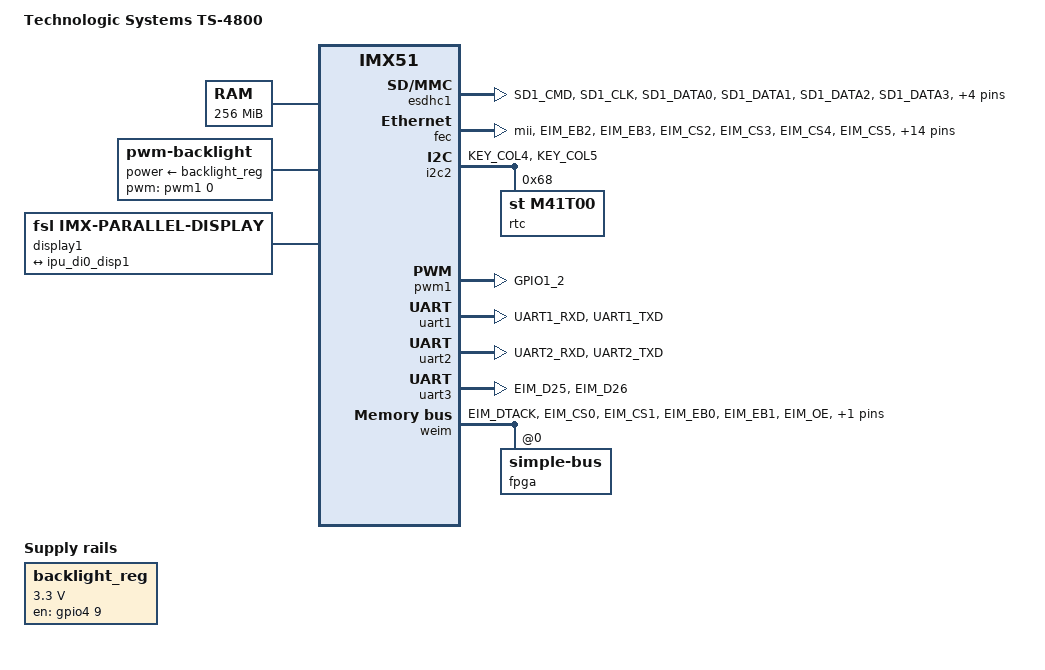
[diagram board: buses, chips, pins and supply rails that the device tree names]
/*
 * Copyright 2015 Savoir-faire Linux
 *
 * This device tree is based on imx51-babbage.dts
 *
 * Licensed under the X11 license or the GPL v2 (or later)
 */

/dts-v1/;
#include "imx51.dtsi"

/ {
	model = "Technologic Systems TS-4800";
	compatible = "technologic,imx51-ts4800", "fsl,imx51";

	chosen {
		stdout-path = &uart1;
	};

	memory@90000000 {
		device_type = "memory";
		reg = <0x90000000 0x10000000>;
	};

	clocks {
		ckih1 {
			clock-frequency = <22579200>;
		};

		ckih2 {
			clock-frequency = <24576000>;
		};
	};

	backlight_reg: regulator-backlight {
		compatible = "regulator-fixed";
		pinctrl-names = "default";
		pinctrl-0 = <&pinctrl_enable_lcd>;
		regulator-name = "enable_lcd_reg";
		regulator-min-microvolt = <3300000>;
		regulator-max-microvolt = <3300000>;
		gpio = <&gpio4 9 GPIO_ACTIVE_HIGH>;
		enable-active-high;
	};

	backlight: backlight {
		compatible = "pwm-backlight";
		pwms = <&pwm1 0 78770>;
		brightness-levels = <0 150 200 255>;
		default-brightness-level = <1>;
		power-supply = <&backlight_reg>;
	};

	display1: disp1 {
		compatible = "fsl,imx-parallel-display";
		interface-pix-fmt = "rgb24";
		pinctrl-names = "default";
		pinctrl-0 = <&pinctrl_lcd>;

		display-timings {
			800x480p60 {
				native-mode;
				clock-frequency = <30066000>;
				hactive = <800>;
				vactive = <480>;
				hfront-porch = <50>;
				hback-porch = <70>;
				hsync-len = <50>;
				vback-porch = <0>;
				vfront-porch = <0>;
				vsync-len = <50>;
			};
		};

		port {
			display0_in: endpoint {
				remote-endpoint = <&ipu_di0_disp1>;
			};
		};
	};
};

&esdhc1 {
	pinctrl-names = "default";
	pinctrl-0 = <&pinctrl_esdhc1>;
	cd-gpios = <&gpio1 0 GPIO_ACTIVE_LOW>;
	wp-gpios = <&gpio1 1 GPIO_ACTIVE_HIGH>;
	status = "okay";
};

&fec {
	pinctrl-names = "default";
	pinctrl-0 = <&pinctrl_fec>;
	phy-mode = "mii";
	phy-reset-gpios = <&gpio2 14 GPIO_ACTIVE_LOW>;
	phy-reset-duration = <1>;
	status = "okay";
};

&i2c2 {
	pinctrl-names = "default";
	pinctrl-0 = <&pinctrl_i2c2>;
	status = "okay";

	rtc: rtc@68 {
		compatible = "st,m41t00";
		reg = <0x68>;
	};
};

&ipu_di0_disp1 {
	remote-endpoint = <&display0_in>;
};

&pwm1 {
	#pwm-cells = <2>;
	pinctrl-names = "default";
	pinctrl-0 = <&pinctrl_pwm_backlight>;
	status = "okay";
};

&uart1 {
	pinctrl-names = "default";
	pinctrl-0 = <&pinctrl_uart1>;
	status = "okay";
};

&uart2 {
	pinctrl-names = "default";
	pinctrl-0 = <&pinctrl_uart2>;
	status = "okay";
};

&uart3 {
	pinctrl-names = "default";
	pinctrl-0 = <&pinctrl_uart3>;
	status = "okay";
};

&weim {
	pinctrl-names = "default";
	pinctrl-0 = <&pinctrl_weim>;
	status = "okay";

	fpga@0 {
		compatible = "simple-bus";
		fsl,weim-cs-timing = <0x0061008F 0x00000002 0x1c022000
				      0x00000000 0x1c092480 0x00000000>;
		reg = <0 0x0000000 0x1d000>;
		#address-cells = <1>;
		#size-cells = <1>;
		ranges = <0 0 0 0x1d000>;

		syscon: syscon@10000 {
			compatible = "syscon", "simple-mfd";
			reg = <0x10000 0x3d>;
			reg-io-width = <2>;

			wdt {
				compatible = "technologic,ts4800-wdt";
				syscon = <&syscon 0xe>;
			};
		};

		touchscreen@12000 {
			compatible = "technologic,ts4800-ts";
			reg = <0x12000 0x1000>;
			syscon = <&syscon 0x10 6>;
		};

		fpga_irqc: fpga-irqc@15000 {
			compatible = "technologic,ts4800-irqc";
			reg = <0x15000 0x1000>;
			pinctrl-names = "default";
			pinctrl-0 = <&pinctrl_interrupt_fpga>;
			interrupt-parent = <&gpio2>;
			interrupts= <9 IRQ_TYPE_LEVEL_HIGH>;
			interrupt-controller;
			#interrupt-cells = <1>;
		};

		can@1a000 {
			compatible = "technologic,sja1000";
			reg = <0x1a000 0x100>;
			interrupt-parent = <&fpga_irqc>;
			interrupts = <1>;
			reg-io-width = <2>;
			nxp,tx-output-config = <0x06>;
			nxp,external-clock-frequency = <24000000>;
		};
	};
};

&iomuxc {
	pinctrl_ecspi1: ecspi1grp {
		fsl,pins = <
			MX51_PAD_CSPI1_MISO__ECSPI1_MISO	0x185
			MX51_PAD_CSPI1_MOSI__ECSPI1_MOSI	0x185
			MX51_PAD_CSPI1_SCLK__ECSPI1_SCLK	0x185
			MX51_PAD_CSPI1_SS0__GPIO4_24		0x85 /* CS0 */
		>;
	};

	pinctrl_enable_lcd: enablelcdgrp {
		fsl,pins = <
			MX51_PAD_CSI2_D12__GPIO4_9		0x1c5
		>;
	};

	pinctrl_esdhc1: esdhc1grp {
		fsl,pins = <
			MX51_PAD_SD1_CMD__SD1_CMD		0x400020d5
			MX51_PAD_SD1_CLK__SD1_CLK		0x20d5
			MX51_PAD_SD1_DATA0__SD1_DATA0		0x20d5
			MX51_PAD_SD1_DATA1__SD1_DATA1		0x20d5
			MX51_PAD_SD1_DATA2__SD1_DATA2		0x20d5
			MX51_PAD_SD1_DATA3__SD1_DATA3		0x20d5
			MX51_PAD_GPIO1_0__GPIO1_0		0x100
			MX51_PAD_GPIO1_1__GPIO1_1		0x100
		>;
	};

	pinctrl_fec: fecgrp {
		fsl,pins = <
			MX51_PAD_EIM_EB2__FEC_MDIO		0x000001f5
			MX51_PAD_EIM_EB3__FEC_RDATA1		0x00000085
			MX51_PAD_EIM_CS2__FEC_RDATA2		0x00000085
			MX51_PAD_EIM_CS3__FEC_RDATA3		0x00000085
			MX51_PAD_EIM_CS4__FEC_RX_ER		0x00000180
			MX51_PAD_EIM_CS5__FEC_CRS		0x00000180
			MX51_PAD_DISP2_DAT10__FEC_COL		0x00000180
			MX51_PAD_DISP2_DAT11__FEC_RX_CLK	0x00000180
			MX51_PAD_DISP2_DAT14__FEC_RDATA0	0x00002180
			MX51_PAD_DISP2_DAT15__FEC_TDATA0	0x00002004
			MX51_PAD_NANDF_CS2__FEC_TX_ER		0x00002004
			MX51_PAD_DI2_PIN2__FEC_MDC		0x00002004
			MX51_PAD_DISP2_DAT6__FEC_TDATA1		0x00002004
			MX51_PAD_DISP2_DAT7__FEC_TDATA2		0x00002004
			MX51_PAD_DISP2_DAT8__FEC_TDATA3		0x00002004
			MX51_PAD_DISP2_DAT9__FEC_TX_EN		0x00002004
			MX51_PAD_DISP2_DAT13__FEC_TX_CLK	0x00002180
			MX51_PAD_DISP2_DAT12__FEC_RX_DV		0x000020a4
			MX51_PAD_EIM_A20__GPIO2_14		0x00000085 /* Phy Reset */
		>;
	};

	pinctrl_i2c2: i2c2grp {
		fsl,pins = <
			MX51_PAD_KEY_COL4__I2C2_SCL		0x400001ed
			MX51_PAD_KEY_COL5__I2C2_SDA		0x400001ed
		>;
	};

	pinctrl_interrupt_fpga: fpgaicgrp {
		fsl,pins = <
			MX51_PAD_EIM_D27__GPIO2_9		0xe5
		>;
	};

	pinctrl_lcd: lcdgrp {
		fsl,pins = <
			MX51_PAD_DISP1_DAT0__DISP1_DAT0		0x5
			MX51_PAD_DISP1_DAT1__DISP1_DAT1		0x5
			MX51_PAD_DISP1_DAT2__DISP1_DAT2		0x5
			MX51_PAD_DISP1_DAT3__DISP1_DAT3		0x5
			MX51_PAD_DISP1_DAT4__DISP1_DAT4		0x5
			MX51_PAD_DISP1_DAT5__DISP1_DAT5		0x5
			MX51_PAD_DISP1_DAT6__DISP1_DAT6		0x5
			MX51_PAD_DISP1_DAT7__DISP1_DAT7		0x5
			MX51_PAD_DISP1_DAT8__DISP1_DAT8		0x5
			MX51_PAD_DISP1_DAT9__DISP1_DAT9		0x5
			MX51_PAD_DISP1_DAT10__DISP1_DAT10	0x5
			MX51_PAD_DISP1_DAT11__DISP1_DAT11	0x5
			MX51_PAD_DISP1_DAT12__DISP1_DAT12	0x5
			MX51_PAD_DISP1_DAT13__DISP1_DAT13	0x5
			MX51_PAD_DISP1_DAT14__DISP1_DAT14	0x5
			MX51_PAD_DISP1_DAT15__DISP1_DAT15	0x5
			MX51_PAD_DISP1_DAT16__DISP1_DAT16	0x5
			MX51_PAD_DISP1_DAT17__DISP1_DAT17	0x5
			MX51_PAD_DISP1_DAT18__DISP1_DAT18	0x5
			MX51_PAD_DISP1_DAT19__DISP1_DAT19	0x5
			MX51_PAD_DISP1_DAT20__DISP1_DAT20	0x5
			MX51_PAD_DISP1_DAT21__DISP1_DAT21	0x5
			MX51_PAD_DISP1_DAT22__DISP1_DAT22	0x5
			MX51_PAD_DISP1_DAT23__DISP1_DAT23	0x5
			MX51_PAD_DI1_PIN2__DI1_PIN2		0x5
			MX51_PAD_DI1_PIN3__DI1_PIN3		0x5
			MX51_PAD_DI2_DISP_CLK__DI2_DISP_CLK	0x5
			MX51_PAD_DI_GP4__DI2_PIN15		0x5
		>;
	};

	pinctrl_pwm_backlight: backlightgrp {
		fsl,pins = <
			MX51_PAD_GPIO1_2__PWM1_PWMO		0x80000000
		>;
	};

	pinctrl_uart1: uart1grp {
		fsl,pins = <
			MX51_PAD_UART1_RXD__UART1_RXD		0x1c5
			MX51_PAD_UART1_TXD__UART1_TXD		0x1c5
		>;
	};

	pinctrl_uart2: uart2grp {
		fsl,pins = <
			MX51_PAD_UART2_RXD__UART2_RXD		0x1c5
			MX51_PAD_UART2_TXD__UART2_TXD		0x1c5
		>;
	};

	pinctrl_uart3: uart3grp {
		fsl,pins = <
			MX51_PAD_EIM_D25__UART3_RXD		0x1c5
			MX51_PAD_EIM_D26__UART3_TXD		0x1c5
		>;
	};

	pinctrl_weim: weimgrp {
		fsl,pins = <
			MX51_PAD_EIM_DTACK__EIM_DTACK		0x85
			MX51_PAD_EIM_CS0__EIM_CS0		0x0
			MX51_PAD_EIM_CS1__EIM_CS1		0x0
			MX51_PAD_EIM_EB0__EIM_EB0		0x85
			MX51_PAD_EIM_EB1__EIM_EB1		0x85
			MX51_PAD_EIM_OE__EIM_OE			0x85
			MX51_PAD_EIM_LBA__EIM_LBA		0x85
		>;
	};
};
